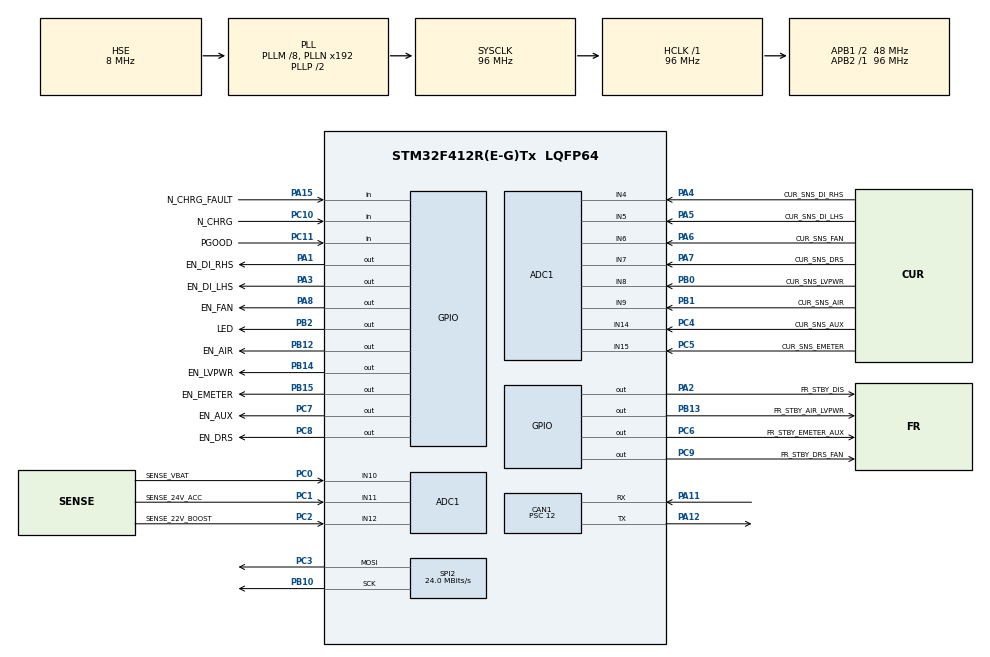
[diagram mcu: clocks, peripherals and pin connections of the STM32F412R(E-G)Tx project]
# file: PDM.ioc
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ADC1.Channel-0\#ChannelRegularConversion=ADC_CHANNEL_4
ADC1.Channel-1\#ChannelRegularConversion=ADC_CHANNEL_5
ADC1.Channel-10\#ChannelRegularConversion=ADC_CHANNEL_15
ADC1.Channel-2\#ChannelRegularConversion=ADC_CHANNEL_6
ADC1.Channel-3\#ChannelRegularConversion=ADC_CHANNEL_7
ADC1.Channel-4\#ChannelRegularConversion=ADC_CHANNEL_8
ADC1.Channel-5\#ChannelRegularConversion=ADC_CHANNEL_9
ADC1.Channel-6\#ChannelRegularConversion=ADC_CHANNEL_10
ADC1.Channel-7\#ChannelRegularConversion=ADC_CHANNEL_11
ADC1.Channel-8\#ChannelRegularConversion=ADC_CHANNEL_12
ADC1.Channel-9\#ChannelRegularConversion=ADC_CHANNEL_14
ADC1.DMAContinuousRequests=ENABLE
ADC1.ExternalTrigConv=ADC_EXTERNALTRIGCONV_T3_TRGO
ADC1.NbrOfConversion=11
ADC1.NbrOfConversionFlag=1
ADC1.Rank-0\#ChannelRegularConversion=1
ADC1.Rank-1\#ChannelRegularConversion=2
ADC1.Rank-10\#ChannelRegularConversion=11
ADC1.Rank-2\#ChannelRegularConversion=3
ADC1.Rank-3\#ChannelRegularConversion=4
ADC1.Rank-4\#ChannelRegularConversion=5
ADC1.Rank-5\#ChannelRegularConversion=6
ADC1.Rank-6\#ChannelRegularConversion=7
ADC1.Rank-7\#ChannelRegularConversion=8
ADC1.Rank-8\#ChannelRegularConversion=9
ADC1.Rank-9\#ChannelRegularConversion=10
ADC1.SamplingTime-0\#ChannelRegularConversion=ADC_SAMPLETIME_3CYCLES
ADC1.SamplingTime-1\#ChannelRegularConversion=ADC_SAMPLETIME_3CYCLES
ADC1.SamplingTime-10\#ChannelRegularConversion=ADC_SAMPLETIME_3CYCLES
ADC1.SamplingTime-2\#ChannelRegularConversion=ADC_SAMPLETIME_3CYCLES
ADC1.SamplingTime-3\#ChannelRegularConversion=ADC_SAMPLETIME_3CYCLES
ADC1.SamplingTime-4\#ChannelRegularConversion=ADC_SAMPLETIME_3CYCLES
ADC1.SamplingTime-5\#ChannelRegularConversion=ADC_SAMPLETIME_3CYCLES
ADC1.SamplingTime-6\#ChannelRegularConversion=ADC_SAMPLETIME_3CYCLES
ADC1.SamplingTime-7\#ChannelRegularConversion=ADC_SAMPLETIME_3CYCLES
ADC1.SamplingTime-8\#ChannelRegularConversion=ADC_SAMPLETIME_3CYCLES
ADC1.SamplingTime-9\#ChannelRegularConversion=ADC_SAMPLETIME_3CYCLES
ADC1.ScanConvMode=ENABLE
ADC1.master=1
CAN1.ABOM=ENABLE
CAN1.BS1=CAN_BS1_6TQ
CAN1.CalculateBaudRate=500000
CAN1.CalculateTimeBit=2000
CAN1.CalculateTimeQuantum=250.0
CAN1.NART=ENABLE
CAN1.Prescaler=12
CAN1.RFLM=ENABLE
CAN1.SJW=CAN_SJW_4TQ
CAN1.TXFP=ENABLE
Dma.ADC1.0.Direction=DMA_PERIPH_TO_MEMORY
Dma.ADC1.0.FIFOMode=DMA_FIFOMODE_DISABLE
Dma.ADC1.0.Instance=DMA2_Stream0
Dma.ADC1.0.MemDataAlignment=DMA_MDATAALIGN_HALFWORD
Dma.ADC1.0.MemInc=DMA_MINC_ENABLE
Dma.ADC1.0.Mode=DMA_CIRCULAR
Dma.ADC1.0.PeriphDataAlignment=DMA_PDATAALIGN_HALFWORD
Dma.ADC1.0.PeriphInc=DMA_PINC_DISABLE
Dma.ADC1.0.Priority=DMA_PRIORITY_LOW
Dma.Request0=ADC1
FREERTOS.INCLUDE_uxTaskGetStackHighWaterMark=1
FREERTOS.INCLUDE_vTaskDelayUntil=1
FREERTOS.MEMORY_ALLOCATION=1
FREERTOS.Tasks01=Task100Hz,40,512,RunTask100Hz,Default,NULL,Static,Task100HzBuffer,Task100HzControlBlock;TaskCanRx,24,512,RunTaskCanRx,Default,NULL,Static,TaskCanRxBuffer,TaskCanRxControlBlock;TaskCanTx,24,512,RunTaskCanTx,Default,NULL,Static,TaskCanTxBuffer,TaskCanTxControlBlock;Task1kHz,48,512,RunTask1kHz,Default,NULL,Static,Task1kHzBuffer,Task1kHzControlBlock;Task1Hz,32,512,RunTask1Hz,Default,NULL,Static,Task1HzBuffer,Task1HzControlBlock
FREERTOS.configCHECK_FOR_STACK_OVERFLOW=2
FREERTOS.configUSE_NEWLIB_REENTRANT=1
FREERTOS.configUSE_TICK_HOOK=1
FREERTOS.configUSE_TRACE_FACILITY=1
IWDG.Reload=LSI_FREQUENCY /  IWDG_PRESCALER / IWDG_RESET_FREQUENCY
Mcu.Family=STM32F4
Mcu.Name=STM32F412R(E-G)Tx
Mcu.Package=LQFP64
Mcu.UserConstants=LSI_FREQUENCY,32000;IWDG_PRESCALER,4;IWDG_RESET_FREQUENCY,5;TIMx_FREQUENCY,96000000;TIM3_PRESCALER,96;ADC_FREQUENCY,1000
NVIC.DMA2_Stream0_IRQn=true\:5\:0\:false\:false\:true\:true\:false\:true\:true
NVIC.PriorityGroup=NVIC_PRIORITYGROUP_4
NVIC.TIM6_IRQn=true\:0\:0\:false\:false\:true\:false\:false\:true\:true
NVIC.TimeBase=TIM6_IRQn
NVIC.TimeBaseIP=TIM6
PA1.GPIO_Label=EN_DI_RHS
PA1.Signal=GPIO_Output
PA11.Mode=CAN_Activate
PA11.Signal=CAN1_RX
PA12.Mode=CAN_Activate
PA12.Signal=CAN1_TX
PA13.Mode=Trace_Asynchronous_SW
PA13.Signal=SYS_JTMS-SWDIO
PA14.Mode=Trace_Asynchronous_SW
PA14.Signal=SYS_JTCK-SWCLK
PA15.GPIO_Label=N_CHRG_FAULT
PA15.Signal=GPIO_Input
PA2.GPIO_Label=FR_STBY_DIS
PA2.Signal=GPIO_Output
PA3.GPIO_Label=EN_DI_LHS
PA3.Signal=GPIO_Output
PA4.GPIO_Label=CUR_SNS_DI_RHS
PA4.Signal=ADCx_IN4
PA5.GPIO_Label=CUR_SNS_DI_LHS
PA5.Signal=ADCx_IN5
PA6.GPIO_Label=CUR_SNS_FAN
PA6.Signal=ADCx_IN6
PA7.GPIO_Label=CUR_SNS_DRS
PA7.Signal=ADCx_IN7
PA8.GPIO_Label=EN_FAN
PA8.Signal=GPIO_Output
PB0.GPIO_Label=CUR_SNS_LVPWR
PB0.Signal=ADCx_IN8
PB1.GPIO_Label=CUR_SNS_AIR
PB1.Signal=ADCx_IN9
PB10.Mode=TX_Only_Simplex_Unidirect_Master
PB10.Signal=SPI2_SCK
PB12.GPIO_Label=EN_AIR
PB12.Signal=GPIO_Output
PB13.GPIO_Label=FR_STBY_AIR_LVPWR
PB13.Signal=GPIO_Output
PB14.GPIO_Label=EN_LVPWR
PB14.Signal=GPIO_Output
PB15.GPIO_Label=EN_EMETER
PB15.Signal=GPIO_Output
PB2.GPIO_Label=LED
PB2.Signal=GPIO_Output
PB3.Mode=Trace_Asynchronous_SW
PB3.Signal=SYS_JTDO-SWO
PC0.GPIO_Label=SENSE_VBAT
PC0.Signal=ADCx_IN10
PC1.GPIO_Label=SENSE_24V_ACC
PC1.Signal=ADCx_IN11
PC10.GPIO_Label=N_CHRG
PC10.Signal=GPIO_Input
PC11.GPIO_Label=PGOOD
PC11.Signal=GPIO_Input
PC2.GPIO_Label=SENSE_22V_BOOST
PC2.Signal=ADCx_IN12
PC3.Mode=TX_Only_Simplex_Unidirect_Master
PC3.Signal=SPI2_MOSI
PC4.GPIO_Label=CUR_SNS_AUX
PC4.Signal=ADCx_IN14
PC5.GPIO_Label=CUR_SNS_EMETER
PC5.Signal=ADCx_IN15
PC6.GPIO_Label=FR_STBY_EMETER_AUX
PC6.Signal=GPIO_Output
PC7.GPIO_Label=EN_AUX
PC7.Signal=GPIO_Output
PC8.GPIO_Label=EN_DRS
PC8.Signal=GPIO_Output
PC9.GPIO_Label=FR_STBY_DRS_FAN
PC9.Signal=GPIO_Output
PH0\ -\ OSC_IN.Mode=HSE-External-Oscillator
PH0\ -\ OSC_IN.Signal=RCC_OSC_IN
PH1\ -\ OSC_OUT.Mode=HSE-External-Oscillator
PH1\ -\ OSC_OUT.Signal=RCC_OSC_OUT
ProjectManager.HeapSize=0x00
ProjectManager.StackSize=0x400
ProjectManager.TargetToolchain=STM32CubeIDE
RCC.AHBFreq_Value=96000000
RCC.APB1CLKDivider=RCC_HCLK_DIV2
RCC.APB1Freq_Value=48000000
RCC.APB1TimFreq_Value=96000000
RCC.APB2Freq_Value=96000000
RCC.APB2TimFreq_Value=96000000
RCC.CortexFreq_Value=96000000
RCC.HCLKFreq_Value=96000000
RCC.HSE_VALUE=8000000
RCC.PLLM=8
RCC.PLLSourceVirtual=RCC_PLLSOURCE_HSE
RCC.SYSCLKFreq_VALUE=96000000
RCC.SYSCLKSource=RCC_SYSCLKSOURCE_PLLCLK
RCC.USBFreq_Value=96000000
RCC.VCOOutputFreq_Value=192000000
SH.ADCx_IN10.0=ADC1_IN10,IN10
SH.ADCx_IN11.0=ADC1_IN11,IN11
SH.ADCx_IN12.0=ADC1_IN12,IN12
SH.ADCx_IN14.0=ADC1_IN14,IN14
SH.ADCx_IN15.0=ADC1_IN15,IN15
SH.ADCx_IN4.0=ADC1_IN4,IN4
SH.ADCx_IN5.0=ADC1_IN5,IN5
SH.ADCx_IN6.0=ADC1_IN6,IN6
SH.ADCx_IN7.0=ADC1_IN7,IN7
SH.ADCx_IN8.0=ADC1_IN8,IN8
SH.ADCx_IN9.0=ADC1_IN9,IN9
SPI2.CalculateBaudRate=24.0 MBits/s
SPI2.Direction=SPI_DIRECTION_2LINES
SPI2.Mode=SPI_MODE_MASTER
SPI2.VirtualType=VM_MASTER
TIM3.Period=(TIMx_FREQUENCY / TIM3_PRESCALER / ADC_FREQUENCY) - 1
TIM3.Prescaler=TIM3_PRESCALER - 1 
TIM3.TIM_MasterOutputTrigger=TIM_TRGO_UPDATE
VP_FREERTOS_VS_CMSIS_V2.Mode=CMSIS_V2
VP_IWDG_VS_IWDG.Mode=IWDG_Activate
VP_SYS_VS_tim6.Mode=TIM6
VP_TIM3_VS_ClockSourceINT.Mode=Internal
board=custom

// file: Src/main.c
/* USER CODE BEGIN Header */
/**
 ******************************************************************************
 * @file           : main.c
 * @brief          : Main program body
 ******************************************************************************
 * @attention
 *
 * <h2><center>&copy; Copyright (c) 2020 STMicroelectronics.
 * All rights reserved.</center></h2>
 *
 * This software component is licensed by ST under Ultimate Liberty license
 * SLA0044, the "License"; You may not use this file except in compliance with
 * the License. You may obtain a copy of the License at:
 *                             www.st.com/SLA0044
 *
 ******************************************************************************
 */
/* USER CODE END Header */
#include "main.h"
#include "cmsis_os.h"

/* USER CODE BEGIN Includes */
#include <assert.h>

#include "Io_CanTx.h"
#include "Io_CanRx.h"
#include "Io_SharedSoftwareWatchdog.h"
#include "Io_SharedCan.h"
#include "hw_hardFaultHandler.h"
#include "Io_StackWaterMark.h"
#include "Io_SoftwareWatchdog.h"
#include "Io_VoltageSense.h"
#include "Io_CurrentSense.h"
#include "Io_SharedHeartbeatMonitor.h"
#include "Io_RgbLedSequence.h"
#include "Io_LT3650.h"
#include "Io_LTC3786.h"
#include "Io_Adc.h"
#include "Io_Efuse.h"
#include "Io_VoltageSense.h"

#include "App_CanAlerts.h"
#include "App_PdmWorld.h"
#include "App_SharedMacros.h"
#include "App_SharedConstants.h"
#include "App_SharedStateMachine.h"
#include "states/App_InitState.h"
#include "configs/App_CurrentLimits.h"
#include "configs/App_VoltageLimits.h"
#include "configs/App_HeartbeatMonitorConfig.h"

#include "App_CommitInfo.h"

/* USER CODE END Includes */

typedef StaticTask_t osStaticThreadDef_t;

ADC_HandleTypeDef hadc1;
DMA_HandleTypeDef hdma_adc1;

CAN_HandleTypeDef hcan1;

IWDG_HandleTypeDef hiwdg;

SPI_HandleTypeDef hspi2;

TIM_HandleTypeDef htim3;

/* Definitions for Task100Hz */
osThreadId_t         Task100HzHandle;
uint32_t             Task100HzBuffer[512];
osStaticThreadDef_t  Task100HzControlBlock;
const osThreadAttr_t Task100Hz_attributes = {
    .name       = "Task100Hz",
    .cb_mem     = &Task100HzControlBlock,
    .cb_size    = sizeof(Task100HzControlBlock),
    .stack_mem  = &Task100HzBuffer[0],
    .stack_size = sizeof(Task100HzBuffer),
    .priority   = (osPriority_t)osPriorityHigh,
};
/* Definitions for TaskCanRx */
osThreadId_t         TaskCanRxHandle;
uint32_t             TaskCanRxBuffer[512];
osStaticThreadDef_t  TaskCanRxControlBlock;
const osThreadAttr_t TaskCanRx_attributes = {
    .name       = "TaskCanRx",
    .cb_mem     = &TaskCanRxControlBlock,
    .cb_size    = sizeof(TaskCanRxControlBlock),
    .stack_mem  = &TaskCanRxBuffer[0],
    .stack_size = sizeof(TaskCanRxBuffer),
    .priority   = (osPriority_t)osPriorityNormal,
};
/* Definitions for TaskCanTx */
osThreadId_t         TaskCanTxHandle;
uint32_t             TaskCanTxBuffer[512];
osStaticThreadDef_t  TaskCanTxControlBlock;
const osThreadAttr_t TaskCanTx_attributes = {
    .name       = "TaskCanTx",
    .cb_mem     = &TaskCanTxControlBlock,
    .cb_size    = sizeof(TaskCanTxControlBlock),
    .stack_mem  = &TaskCanTxBuffer[0],
    .stack_size = sizeof(TaskCanTxBuffer),
    .priority   = (osPriority_t)osPriorityNormal,
};
/* Definitions for Task1kHz */
osThreadId_t         Task1kHzHandle;
uint32_t             Task1kHzBuffer[512];
osStaticThreadDef_t  Task1kHzControlBlock;
const osThreadAttr_t Task1kHz_attributes = {
    .name       = "Task1kHz",
    .cb_mem     = &Task1kHzControlBlock,
    .cb_size    = sizeof(Task1kHzControlBlock),
    .stack_mem  = &Task1kHzBuffer[0],
    .stack_size = sizeof(Task1kHzBuffer),
    .priority   = (osPriority_t)osPriorityRealtime,
};
/* Definitions for Task1Hz */
osThreadId_t         Task1HzHandle;
uint32_t             Task1HzBuffer[512];
osStaticThreadDef_t  Task1HzControlBlock;
const osThreadAttr_t Task1Hz_attributes = {
    .name       = "Task1Hz",
    .cb_mem     = &Task1HzControlBlock,
    .cb_size    = sizeof(Task1HzControlBlock),
    .stack_mem  = &Task1HzBuffer[0],
    .stack_size = sizeof(Task1HzBuffer),
    .priority   = (osPriority_t)osPriorityAboveNormal,
};
/* USER CODE BEGIN PV */
struct PdmWorld *         world;
struct StateMachine *     state_machine;
struct InRangeCheck *     vbat_voltage_in_range_check;
struct InRangeCheck *     _24v_aux_voltage_in_range_check;
struct InRangeCheck *     _24v_acc_voltage_in_range_check;
struct InRangeCheck *     aux1_current_in_range_check;
struct InRangeCheck *     aux2_current_in_range_check;
struct InRangeCheck *     left_inverter_current_in_range_check;
struct InRangeCheck *     right_inverter_current_in_range_check;
struct InRangeCheck *     energy_meter_current_in_range_check;
struct InRangeCheck *     can_current_in_range_check;
struct InRangeCheck *     air_shutdown_current_in_range_check;
struct HeartbeatMonitor * heartbeat_monitor;
struct RgbLedSequence *   rgb_led_sequence;
struct LowVoltageBattery *low_voltage_battery;
struct Clock *            clock;
/* USER CODE END PV */

void        SystemClock_Config(void);
static void MX_GPIO_Init(void);
static void MX_DMA_Init(void);
static void MX_ADC1_Init(void);
static void MX_CAN1_Init(void);
static void MX_IWDG_Init(void);
static void MX_SPI2_Init(void);
static void MX_TIM3_Init(void);
void        RunTask100Hz(void *argument);
void        RunTaskCanRx(void *argument);
void        RunTaskCanTx(void *argument);
void        RunTask1kHz(void *argument);
void        RunTask1Hz(void *argument);

/* USER CODE BEGIN PFP */

static void CanRxQueueOverflowCallBack(size_t overflow_count);
static void CanTxQueueOverflowCallBack(size_t overflow_count);

/* USER CODE END PFP */

/* USER CODE BEGIN 0 */

static void CanRxQueueOverflowCallBack(size_t overflow_count)
{
    App_CanTx_PDM_RxOverflowCount_Set(overflow_count);
    App_CanAlerts_PDM_Warning_RxOverflow_Set(true);
}

static void CanTxQueueOverflowCallBack(size_t overflow_count)
{
    App_CanTx_PDM_TxOverflowCount_Set(overflow_count);
    App_CanAlerts_PDM_Warning_TxOverflow_Set(true);
}

/* USER CODE END 0 */

int main(void)
{

    /* MCU Configuration--------------------------------------------------------*/

    /* Reset of all peripherals, Initializes the Flash interface and the Systick. */
    HAL_Init();

    /* Configure the system clock */
    SystemClock_Config();

    /* USER CODE BEGIN SysInit */
    HAL_Delay(500U);
    /* USER CODE END SysInit */

    /* Initialize all configured peripherals */
    MX_GPIO_Init();
    MX_DMA_Init();
    MX_ADC1_Init();
    MX_CAN1_Init();
    MX_IWDG_Init();
    MX_SPI2_Init();
    MX_TIM3_Init();
    /* USER CODE BEGIN 2 */
    __HAL_DBGMCU_FREEZE_IWDG();

    // Configure and initialize SEGGER SystemView.
    SEGGER_SYSVIEW_Conf();

    HAL_ADC_Start_DMA(&hadc1, (uint32_t *)Io_Adc_GetRawAdcValues(), hadc1.Init.NbrOfConversion);
    HAL_TIM_Base_Start(&htim3);

    hw_hardFaultHandler_init();
    Io_SharedSoftwareWatchdog_Init(Io_HardwareWatchdog_Refresh, Io_SoftwareWatchdog_TimeoutCallback);
    Io_SharedCan_Init(&hcan1, CanTxQueueOverflowCallBack, CanRxQueueOverflowCallBack);
    Io_CanTx_Init(Io_SharedCan_TxMessageQueueSendtoBack);
    Io_CanTx_EnableMode(CAN_MODE_DEFAULT, true);

    App_CanTx_Init();
    App_CanRx_Init();

    vbat_voltage_in_range_check =
        App_InRangeCheck_Create(Io_VoltageSense_GetVbatVoltage, VBAT_MIN_VOLTAGE, VBAT_MAX_VOLTAGE);

    _24v_aux_voltage_in_range_check =
        App_InRangeCheck_Create(Io_VoltageSense_GetBoostVoltage, _24V_AUX_MIN_VOLTAGE, _24V_AUX_MAX_VOLTAGE);

    _24v_acc_voltage_in_range_check =
        App_InRangeCheck_Create(Io_VoltageSense_GetAccVoltage, _24V_ACC_MIN_VOLTAGE, _24V_ACC_MAX_VOLTAGE);

    aux1_current_in_range_check =
        App_InRangeCheck_Create(Io_CurrentSense_GetAux1Current, AUX1_MIN_CURRENT, AUX1_MAX_CURRENT);

    aux2_current_in_range_check =
        App_InRangeCheck_Create(Io_CurrentSense_GetAux1Current, AUX2_MIN_CURRENT, AUX2_MAX_CURRENT);

    left_inverter_current_in_range_check = App_InRangeCheck_Create(
        Io_CurrentSense_GetLeftInverterCurrent, LEFT_INVERTER_MIN_CURRENT, LEFT_INVERTER_MAX_CURRENT);

    right_inverter_current_in_range_check = App_InRangeCheck_Create(
        Io_CurrentSense_GetRightInverterCurrent, RIGHT_INVERTER_MIN_CURRENT, RIGHT_INVERTER_MAX_CURRENT);

    energy_meter_current_in_range_check = App_InRangeCheck_Create(
        Io_CurrentSense_GetEnergyMeterCurrent, ENERGY_METER_MIN_CURRENT, ENERGY_METER_MAX_CURRENT);

    can_current_in_range_check =
        App_InRangeCheck_Create(Io_CurrentSense_GetCanCurrent, CAN_MIN_CURRENT, CAN_MAX_CURRENT);

    air_shutdown_current_in_range_check = App_InRangeCheck_Create(
        Io_CurrentSense_GetAirShutdownCurrent, AIR_SHUTDOWN_MIN_CURRENT, AIR_SHUTDOWN_MAX_CURRENT);

    heartbeat_monitor = App_SharedHeartbeatMonitor_Create(
        Io_SharedHeartbeatMonitor_GetCurrentMs, HEARTBEAT_MONITOR_TIMEOUT_PERIOD_MS, HEARTBEAT_MONITOR_BOARDS_TO_CHECK);

    rgb_led_sequence = App_SharedRgbLedSequence_Create(
        Io_RgbLedSequence_TurnOnRedLed, Io_RgbLedSequence_TurnOnBlueLed, Io_RgbLedSequence_TurnOnGreenLed);

    low_voltage_battery = App_LowVoltageBattery_Create(
        Io_LT3650_HasFault, Io_LTC3786_HasFault, Io_VoltageSense_GetVbatVoltage, Io_VoltageSense_GetAccVoltage,
        Io_VoltageSense_GetBoostVoltage);
    clock = App_SharedClock_Create();

    world = App_PdmWorld_Create(
        vbat_voltage_in_range_check, _24v_aux_voltage_in_range_check, _24v_acc_voltage_in_range_check,
        aux1_current_in_range_check, aux2_current_in_range_check, left_inverter_current_in_range_check,
        right_inverter_current_in_range_check, energy_meter_current_in_range_check, can_current_in_range_check,
        air_shutdown_current_in_range_check, heartbeat_monitor, rgb_led_sequence, low_voltage_battery, clock);

    state_machine = App_SharedStateMachine_Create(world, App_GetInitState());

    Io_Efuse_SetChannel(EFUSE_CHANNEL_AIR, true);
    Io_Efuse_SetChannel(EFUSE_CHANNEL_LVPWR, true);
    Io_Efuse_SetChannel(EFUSE_CHANNEL_EMETER, true);
    Io_Efuse_SetChannel(EFUSE_CHANNEL_AUX, true);
    Io_Efuse_SetChannel(EFUSE_CHANNEL_DRS, true);
    Io_Efuse_SetChannel(EFUSE_CHANNEL_FAN, true);
    Io_Efuse_SetChannel(EFUSE_CHANNEL_DI_LHS, true);
    Io_Efuse_SetChannel(EFUSE_CHANNEL_DI_RHS, true);

    // broadcast commit info
    App_CanTx_PDM_Hash_Set(GIT_COMMIT_HASH);
    App_CanTx_PDM_Clean_Set(GIT_COMMIT_CLEAN);

    /* USER CODE END 2 */

    /* Init scheduler */
    osKernelInitialize();

    /* Create the thread(s) */
    /* creation of Task100Hz */
    Task100HzHandle = osThreadNew(RunTask100Hz, NULL, &Task100Hz_attributes);

    /* creation of TaskCanRx */
    TaskCanRxHandle = osThreadNew(RunTaskCanRx, NULL, &TaskCanRx_attributes);

    /* creation of TaskCanTx */
    TaskCanTxHandle = osThreadNew(RunTaskCanTx, NULL, &TaskCanTx_attributes);

    /* creation of Task1kHz */
    Task1kHzHandle = osThreadNew(RunTask1kHz, NULL, &Task1kHz_attributes);

    /* creation of Task1Hz */
    Task1HzHandle = osThreadNew(RunTask1Hz, NULL, &Task1Hz_attributes);

    /* Start scheduler */
    osKernelStart();

    /* We should never get here as control is now taken by the scheduler */
    /* Infinite loop */
    while (1)
    {

    }
}

void SystemClock_Config(void)
{
    RCC_OscInitTypeDef RCC_OscInitStruct = { 0 };
    RCC_ClkInitTypeDef RCC_ClkInitStruct = { 0 };

    /** Configure the main internal regulator output voltage
     */
    __HAL_RCC_PWR_CLK_ENABLE();
    __HAL_PWR_VOLTAGESCALING_CONFIG(PWR_REGULATOR_VOLTAGE_SCALE1);

    /** Initializes the RCC Oscillators according to the specified parameters
     * in the RCC_OscInitTypeDef structure.
     */
    RCC_OscInitStruct.OscillatorType = RCC_OSCILLATORTYPE_LSI | RCC_OSCILLATORTYPE_HSE;
    RCC_OscInitStruct.HSEState       = RCC_HSE_ON;
    RCC_OscInitStruct.LSIState       = RCC_LSI_ON;
    RCC_OscInitStruct.PLL.PLLState   = RCC_PLL_ON;
    RCC_OscInitStruct.PLL.PLLSource  = RCC_PLLSOURCE_HSE;
    RCC_OscInitStruct.PLL.PLLM       = 8;
    RCC_OscInitStruct.PLL.PLLN       = 192;
    RCC_OscInitStruct.PLL.PLLP       = RCC_PLLP_DIV2;
    RCC_OscInitStruct.PLL.PLLQ       = 2;
    RCC_OscInitStruct.PLL.PLLR       = 2;
    if (HAL_RCC_OscConfig(&RCC_OscInitStruct) != HAL_OK)
    {
        Error_Handler();
    }

    /** Initializes the CPU, AHB and APB buses clocks
     */
    RCC_ClkInitStruct.ClockType = RCC_CLOCKTYPE_HCLK | RCC_CLOCKTYPE_SYSCLK | RCC_CLOCKTYPE_PCLK1 | RCC_CLOCKTYPE_PCLK2;
    RCC_ClkInitStruct.SYSCLKSource   = RCC_SYSCLKSOURCE_PLLCLK;
    RCC_ClkInitStruct.AHBCLKDivider  = RCC_SYSCLK_DIV1;
    RCC_ClkInitStruct.APB1CLKDivider = RCC_HCLK_DIV2;
    RCC_ClkInitStruct.APB2CLKDivider = RCC_HCLK_DIV1;

    if (HAL_RCC_ClockConfig(&RCC_ClkInitStruct, FLASH_LATENCY_3) != HAL_OK)
    {
        Error_Handler();
    }
}

static void MX_ADC1_Init(void)
{

    ADC_ChannelConfTypeDef sConfig = { 0 };

    /** Configure the global features of the ADC (Clock, Resolution, Data Alignment and number of conversion)
     */
    hadc1.Instance                   = ADC1;
    hadc1.Init.ClockPrescaler        = ADC_CLOCK_SYNC_PCLK_DIV4;
    hadc1.Init.Resolution            = ADC_RESOLUTION_12B;
    hadc1.Init.ScanConvMode          = ENABLE;
    hadc1.Init.ContinuousConvMode    = DISABLE;
    hadc1.Init.DiscontinuousConvMode = DISABLE;
    hadc1.Init.ExternalTrigConvEdge  = ADC_EXTERNALTRIGCONVEDGE_RISING;
    hadc1.Init.ExternalTrigConv      = ADC_EXTERNALTRIGCONV_T3_TRGO;
    hadc1.Init.DataAlign             = ADC_DATAALIGN_RIGHT;
    hadc1.Init.NbrOfConversion       = 11;
    hadc1.Init.DMAContinuousRequests = ENABLE;
    hadc1.Init.EOCSelection          = ADC_EOC_SINGLE_CONV;
    if (HAL_ADC_Init(&hadc1) != HAL_OK)
    {
        Error_Handler();
    }

    /** Configure for the selected ADC regular channel its corresponding rank in the sequencer and its sample time.
     */
    sConfig.Channel      = ADC_CHANNEL_4;
    sConfig.Rank         = 1;
    sConfig.SamplingTime = ADC_SAMPLETIME_3CYCLES;
    if (HAL_ADC_ConfigChannel(&hadc1, &sConfig) != HAL_OK)
    {
        Error_Handler();
    }

    /** Configure for the selected ADC regular channel its corresponding rank in the sequencer and its sample time.
     */
    sConfig.Channel = ADC_CHANNEL_5;
    sConfig.Rank    = 2;
    if (HAL_ADC_ConfigChannel(&hadc1, &sConfig) != HAL_OK)
    {
        Error_Handler();
    }

    /** Configure for the selected ADC regular channel its corresponding rank in the sequencer and its sample time.
     */
    sConfig.Channel = ADC_CHANNEL_6;
    sConfig.Rank    = 3;
    if (HAL_ADC_ConfigChannel(&hadc1, &sConfig) != HAL_OK)
    {
        Error_Handler();
    }

    /** Configure for the selected ADC regular channel its corresponding rank in the sequencer and its sample time.
     */
    sConfig.Channel = ADC_CHANNEL_7;
    sConfig.Rank    = 4;
    if (HAL_ADC_ConfigChannel(&hadc1, &sConfig) != HAL_OK)
    {
        Error_Handler();
    }

    /** Configure for the selected ADC regular channel its corresponding rank in the sequencer and its sample time.
     */
    sConfig.Channel = ADC_CHANNEL_8;
    sConfig.Rank    = 5;
    if (HAL_ADC_ConfigChannel(&hadc1, &sConfig) != HAL_OK)
    {
        Error_Handler();
    }

    /** Configure for the selected ADC regular channel its corresponding rank in the sequencer and its sample time.
     */
    sConfig.Channel = ADC_CHANNEL_9;
    sConfig.Rank    = 6;
    if (HAL_ADC_ConfigChannel(&hadc1, &sConfig) != HAL_OK)
    {
        Error_Handler();
    }

    /** Configure for the selected ADC regular channel its corresponding rank in the sequencer and its sample time.
     */
    sConfig.Channel = ADC_CHANNEL_10;
    sConfig.Rank    = 7;
    if (HAL_ADC_ConfigChannel(&hadc1, &sConfig) != HAL_OK)
    {
        Error_Handler();
    }

    /** Configure for the selected ADC regular channel its corresponding rank in the sequencer and its sample time.
     */
    sConfig.Channel = ADC_CHANNEL_11;
    sConfig.Rank    = 8;
    if (HAL_ADC_ConfigChannel(&hadc1, &sConfig) != HAL_OK)
    {
        Error_Handler();
    }

    /** Configure for the selected ADC regular channel its corresponding rank in the sequencer and its sample time.
     */
    sConfig.Channel = ADC_CHANNEL_12;
    sConfig.Rank    = 9;
    if (HAL_ADC_ConfigChannel(&hadc1, &sConfig) != HAL_OK)
    {
        Error_Handler();
    }

    /** Configure for the selected ADC regular channel its corresponding rank in the sequencer and its sample time.
     */
    sConfig.Channel = ADC_CHANNEL_14;
    sConfig.Rank    = 10;
    if (HAL_ADC_ConfigChannel(&hadc1, &sConfig) != HAL_OK)
    {
        Error_Handler();
    }

    /** Configure for the selected ADC regular channel its corresponding rank in the sequencer and its sample time.
     */
    sConfig.Channel = ADC_CHANNEL_15;
    sConfig.Rank    = 11;
    if (HAL_ADC_ConfigChannel(&hadc1, &sConfig) != HAL_OK)
    {
        Error_Handler();
    }
}

static void MX_CAN1_Init(void)
{

    hcan1.Instance                  = CAN1;
    hcan1.Init.Prescaler            = 12;
    hcan1.Init.Mode                 = CAN_MODE_NORMAL;
    hcan1.Init.SyncJumpWidth        = CAN_SJW_4TQ;
    hcan1.Init.TimeSeg1             = CAN_BS1_6TQ;
    hcan1.Init.TimeSeg2             = CAN_BS2_1TQ;
    hcan1.Init.TimeTriggeredMode    = DISABLE;
    hcan1.Init.AutoBusOff           = ENABLE;
    hcan1.Init.AutoWakeUp           = DISABLE;
    hcan1.Init.AutoRetransmission   = ENABLE;
    hcan1.Init.ReceiveFifoLocked    = ENABLE;
    hcan1.Init.TransmitFifoPriority = ENABLE;
    if (HAL_CAN_Init(&hcan1) != HAL_OK)
    {
        Error_Handler();
    }
}

static void MX_IWDG_Init(void)
{

    hiwdg.Instance       = IWDG;
    hiwdg.Init.Prescaler = IWDG_PRESCALER_4;
    hiwdg.Init.Reload    = LSI_FREQUENCY / IWDG_PRESCALER / IWDG_RESET_FREQUENCY;
    if (HAL_IWDG_Init(&hiwdg) != HAL_OK)
    {
        Error_Handler();
    }
}

static void MX_SPI2_Init(void)
{

    /* SPI2 parameter configuration*/
    hspi2.Instance               = SPI2;
    hspi2.Init.Mode              = SPI_MODE_MASTER;
    hspi2.Init.Direction         = SPI_DIRECTION_2LINES;
    hspi2.Init.DataSize          = SPI_DATASIZE_8BIT;
    hspi2.Init.CLKPolarity       = SPI_POLARITY_LOW;
    hspi2.Init.CLKPhase          = SPI_PHASE_1EDGE;
    hspi2.Init.NSS               = SPI_NSS_SOFT;
    hspi2.Init.BaudRatePrescaler = SPI_BAUDRATEPRESCALER_2;
    hspi2.Init.FirstBit          = SPI_FIRSTBIT_MSB;
    hspi2.Init.TIMode            = SPI_TIMODE_DISABLE;
    hspi2.Init.CRCCalculation    = SPI_CRCCALCULATION_DISABLE;
    hspi2.Init.CRCPolynomial     = 10;
    if (HAL_SPI_Init(&hspi2) != HAL_OK)
    {
        Error_Handler();
    }
}

static void MX_TIM3_Init(void)
{

    TIM_ClockConfigTypeDef  sClockSourceConfig = { 0 };
    TIM_MasterConfigTypeDef sMasterConfig      = { 0 };

    htim3.Instance               = TIM3;
    htim3.Init.Prescaler         = TIM3_PRESCALER - 1;
    htim3.Init.CounterMode       = TIM_COUNTERMODE_UP;
    htim3.Init.Period            = (TIMx_FREQUENCY / TIM3_PRESCALER / ADC_FREQUENCY) - 1;
    htim3.Init.ClockDivision     = TIM_CLOCKDIVISION_DIV1;
    htim3.Init.AutoReloadPreload = TIM_AUTORELOAD_PRELOAD_DISABLE;
    if (HAL_TIM_Base_Init(&htim3) != HAL_OK)
    {
        Error_Handler();
    }
    sClockSourceConfig.ClockSource = TIM_CLOCKSOURCE_INTERNAL;
    if (HAL_TIM_ConfigClockSource(&htim3, &sClockSourceConfig) != HAL_OK)
    {
        Error_Handler();
    }
    sMasterConfig.MasterOutputTrigger = TIM_TRGO_UPDATE;
    sMasterConfig.MasterSlaveMode     = TIM_MASTERSLAVEMODE_DISABLE;
    if (HAL_TIMEx_MasterConfigSynchronization(&htim3, &sMasterConfig) != HAL_OK)
    {
        Error_Handler();
    }
}

static void MX_DMA_Init(void)
{
    /* DMA controller clock enable */
    __HAL_RCC_DMA2_CLK_ENABLE();

    /* DMA interrupt init */
    /* DMA2_Stream0_IRQn interrupt configuration */
    HAL_NVIC_SetPriority(DMA2_Stream0_IRQn, 5, 0);
    HAL_NVIC_EnableIRQ(DMA2_Stream0_IRQn);
}

static void MX_GPIO_Init(void)
{
    GPIO_InitTypeDef GPIO_InitStruct = { 0 };

    /* GPIO Ports Clock Enable */
    __HAL_RCC_GPIOH_CLK_ENABLE();
    __HAL_RCC_GPIOC_CLK_ENABLE();
    __HAL_RCC_GPIOA_CLK_ENABLE();
    __HAL_RCC_GPIOB_CLK_ENABLE();

    /*Configure GPIO pin Output Level */
    HAL_GPIO_WritePin(GPIOA, EN_DI_RHS_Pin | FR_STBY_DIS_Pin | EN_DI_LHS_Pin | EN_FAN_Pin, GPIO_PIN_RESET);

    /*Configure GPIO pin Output Level */
    HAL_GPIO_WritePin(
        GPIOB, LED_Pin | EN_AIR_Pin | FR_STBY_AIR_LVPWR_Pin | EN_LVPWR_Pin | EN_EMETER_Pin, GPIO_PIN_RESET);

    /*Configure GPIO pin Output Level */
    HAL_GPIO_WritePin(GPIOC, FR_STBY_EMETER_AUX_Pin | EN_AUX_Pin | EN_DRS_Pin | FR_STBY_DRS_FAN_Pin, GPIO_PIN_RESET);

    /*Configure GPIO pins : EN_DI_RHS_Pin FR_STBY_DIS_Pin EN_DI_LHS_Pin EN_FAN_Pin */
    GPIO_InitStruct.Pin   = EN_DI_RHS_Pin | FR_STBY_DIS_Pin | EN_DI_LHS_Pin | EN_FAN_Pin;
    GPIO_InitStruct.Mode  = GPIO_MODE_OUTPUT_PP;
    GPIO_InitStruct.Pull  = GPIO_NOPULL;
    GPIO_InitStruct.Speed = GPIO_SPEED_FREQ_LOW;
    HAL_GPIO_Init(GPIOA, &GPIO_InitStruct);

    /*Configure GPIO pins : LED_Pin EN_AIR_Pin FR_STBY_AIR_LVPWR_Pin EN_LVPWR_Pin
                             EN_EMETER_Pin */
    GPIO_InitStruct.Pin   = LED_Pin | EN_AIR_Pin | FR_STBY_AIR_LVPWR_Pin | EN_LVPWR_Pin | EN_EMETER_Pin;
    GPIO_InitStruct.Mode  = GPIO_MODE_OUTPUT_PP;
    GPIO_InitStruct.Pull  = GPIO_NOPULL;
    GPIO_InitStruct.Speed = GPIO_SPEED_FREQ_LOW;
    HAL_GPIO_Init(GPIOB, &GPIO_InitStruct);

    /*Configure GPIO pins : FR_STBY_EMETER_AUX_Pin EN_AUX_Pin EN_DRS_Pin FR_STBY_DRS_FAN_Pin */
    GPIO_InitStruct.Pin   = FR_STBY_EMETER_AUX_Pin | EN_AUX_Pin | EN_DRS_Pin | FR_STBY_DRS_FAN_Pin;
    GPIO_InitStruct.Mode  = GPIO_MODE_OUTPUT_PP;
    GPIO_InitStruct.Pull  = GPIO_NOPULL;
    GPIO_InitStruct.Speed = GPIO_SPEED_FREQ_LOW;
    HAL_GPIO_Init(GPIOC, &GPIO_InitStruct);

    /*Configure GPIO pin : N_CHRG_FAULT_Pin */
    GPIO_InitStruct.Pin  = N_CHRG_FAULT_Pin;
    GPIO_InitStruct.Mode = GPIO_MODE_INPUT;
    GPIO_InitStruct.Pull = GPIO_NOPULL;
    HAL_GPIO_Init(N_CHRG_FAULT_GPIO_Port, &GPIO_InitStruct);

    /*Configure GPIO pins : N_CHRG_Pin PGOOD_Pin */
    GPIO_InitStruct.Pin  = N_CHRG_Pin | PGOOD_Pin;
    GPIO_InitStruct.Mode = GPIO_MODE_INPUT;
    GPIO_InitStruct.Pull = GPIO_NOPULL;
    HAL_GPIO_Init(GPIOC, &GPIO_InitStruct);

}

void RunTask100Hz(void *argument)
{
    /* USER CODE BEGIN 5 */
    UNUSED(argument);
    static const TickType_t  period_ms = 10U;
    SoftwareWatchdogHandle_t watchdog  = Io_SharedSoftwareWatchdog_AllocateWatchdog();
    Io_SharedSoftwareWatchdog_InitWatchdog(watchdog, RTOS_TASK_100HZ, period_ms);

    static uint32_t start_ticks = 0;
    start_ticks                 = osKernelGetTickCount();

    /* Infinite loop */
    for (;;)
    {
        const uint32_t start_time_ms = osKernelGetTickCount();

        App_SharedStateMachine_Tick100Hz(state_machine);
        Io_CanTx_Enqueue100HzMsgs();

        // Watchdog check-in must be the last function called before putting the
        // task to sleep.
        Io_SharedSoftwareWatchdog_CheckInWatchdog(watchdog);

        start_ticks += period_ms;
        osDelayUntil(start_ticks);
    }
    /* USER CODE END 5 */
}

void RunTaskCanRx(void *argument)
{
    /* USER CODE BEGIN RunTaskCanRx */
    UNUSED(argument);

    for (;;)
    {
        CanMsg message;
        Io_SharedCan_DequeueCanRxMessage(&message);
        Io_CanRx_UpdateRxTableWithMessage(&message);
    }
    /* USER CODE END RunTaskCanRx */
}

void RunTaskCanTx(void *argument)
{
    /* USER CODE BEGIN RunTaskCanTx */
    UNUSED(argument);

    for (;;)
    {
        Io_SharedCan_TransmitEnqueuedCanTxMessagesFromTask();
    }
    /* USER CODE END RunTaskCanTx */
}

void RunTask1kHz(void *argument)
{
    /* USER CODE BEGIN RunTask1kHz */
    UNUSED(argument);
    static const TickType_t  period_ms = 1U;
    SoftwareWatchdogHandle_t watchdog  = Io_SharedSoftwareWatchdog_AllocateWatchdog();
    Io_SharedSoftwareWatchdog_InitWatchdog(watchdog, RTOS_TASK_1KHZ, period_ms);

    static uint32_t start_ticks = 0;
    start_ticks                 = osKernelGetTickCount();

    for (;;)
    {
        const uint32_t start_time_ms = osKernelGetTickCount();

        Io_SharedSoftwareWatchdog_CheckForTimeouts();
        const uint32_t task_start_ms = TICK_TO_MS(osKernelGetTickCount());

        App_SharedClock_SetCurrentTimeInMilliseconds(clock, task_start_ms);
        Io_CanTx_EnqueueOtherPeriodicMsgs(task_start_ms);

        // Watchdog check-in must be the last function called before putting the
        // task to sleep. Prevent check in if the elapsed period is greater or
        // equal to the period ms
        if ((TICK_TO_MS(osKernelGetTickCount()) - task_start_ms) <= period_ms)
        {
            Io_SharedSoftwareWatchdog_CheckInWatchdog(watchdog);
        }

        start_ticks += period_ms;
        osDelayUntil(start_ticks);
    }
    /* USER CODE END RunTask1kHz */
}

void RunTask1Hz(void *argument)
{
    /* USER CODE BEGIN RunTask1Hz */
    UNUSED(argument);
    static const TickType_t  period_ms = 1000U;
    SoftwareWatchdogHandle_t watchdog  = Io_SharedSoftwareWatchdog_AllocateWatchdog();
    Io_SharedSoftwareWatchdog_InitWatchdog(watchdog, RTOS_TASK_1HZ, period_ms);

    static uint32_t start_ticks = 0;
    start_ticks                 = osKernelGetTickCount();

    /* Infinite loop */
    for (;;)
    {
        const uint32_t start_time_ms = osKernelGetTickCount();

        Io_StackWaterMark_Check();
        App_SharedStateMachine_Tick1Hz(state_machine);

        const bool debug_mode_enabled = App_CanRx_Debug_EnableDebugMode_Get();
        Io_CanTx_EnableMode(CAN_MODE_DEBUG, debug_mode_enabled);
        Io_CanTx_Enqueue1HzMsgs();

        // Watchdog check-in must be the last function called before putting the
        // task to sleep.
        Io_SharedSoftwareWatchdog_CheckInWatchdog(watchdog);

        start_ticks += period_ms;
        osDelayUntil(start_ticks);
    }
    /* USER CODE END RunTask1Hz */
}

void HAL_TIM_PeriodElapsedCallback(TIM_HandleTypeDef *htim)
{
    if (htim->Instance == TIM6)
    {
        HAL_IncTick();
    }
}

void Error_Handler(void)
{
    /* USER CODE BEGIN Error_Handler_Debug */
    __assert_func(__FILE__, __LINE__, "Error_Handler", "Error_Handler");
    /* USER CODE END Error_Handler_Debug */
}

#ifdef USE_FULL_ASSERT
/**
 * @brief  Reports the name of the source file and the source line number
 *         where the assert_param error has occurred.
 * @param  file: pointer to the source file name
 * @param  line: assert_param error line source number
 * @retval None
 */
void assert_failed(uint8_t *file, uint32_t line)
{
    /* USER CODE BEGIN 6 */
    __assert_func(file, line, "assert_failed", "assert_failed");
    /* USER CODE END 6 */
}
#endif /* USE_FULL_ASSERT */
